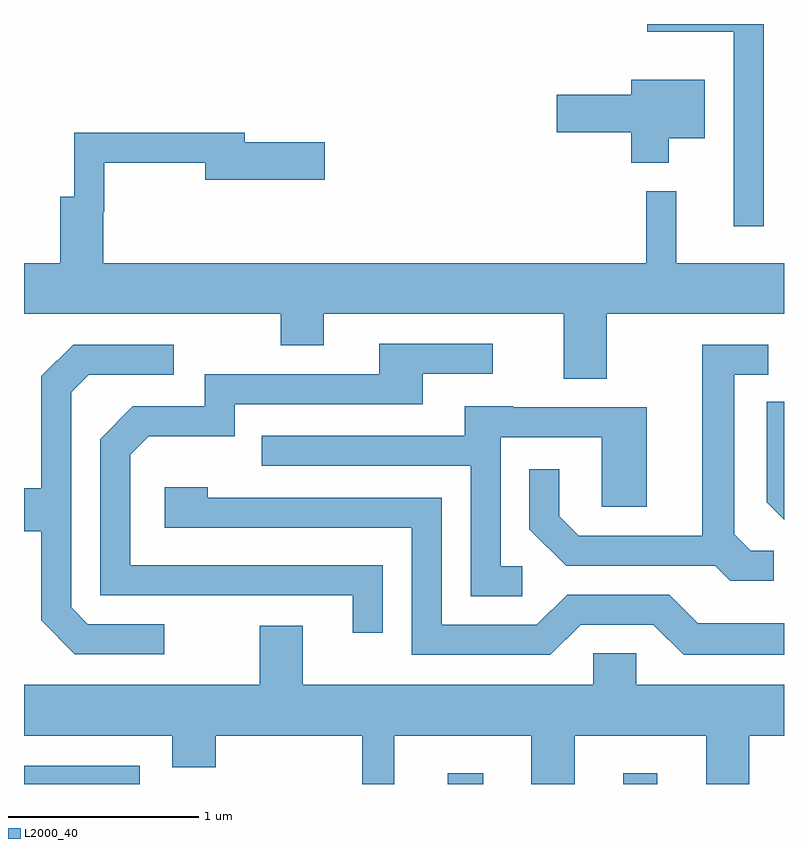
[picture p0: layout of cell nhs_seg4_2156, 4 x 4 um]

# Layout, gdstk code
import gdstk
lib = gdstk.Library(unit=1e-6, precision=1e-09)
def R(c, l, rs):  # rectangles x0, y0, x1, y1
    for r in rs: c.add(gdstk.rectangle(r[:2], r[2:], *l))
def P(c, l, *ps):  # polygons
    for p in ps: c.add(gdstk.Polygon(p, *l))
L2000_40 = (2000, 40)

nhs_seg4_2156 = lib.new_cell('nhs_seg4_2156')
R(nhs_seg4_2156, L2000_40, [(247.611,1349.982,248.219,1350.079), (249.841,1349.982,250.029,1350.039), (250.766,1349.982,250.944,1350.039)])
P(nhs_seg4_2156, L2000_40, [(251.504,1353.982),(250.891,1353.982),(250.891,1353.941),(251.346,1353.941),(251.346,1352.918),(251.504,1352.918)],
  [(251.004,1353.381),(251.194,1353.381),(251.194,1353.689),(250.806,1353.689),(250.806,1353.609),(250.416,1353.609),(250.416,1353.411),(250.806,1353.411),(250.806,1353.251),(251.004,1353.251)],
  [(248.961,1352.291),(249.189,1352.291),(249.189,1352.456),(250.451,1352.456),(250.451,1352.116),(250.679,1352.116),(250.679,1352.456),(251.611,1352.456),(251.611,1352.724),(251.044,1352.724),(251.044,1353.103),(250.886,1353.103),(250.886,1352.724),(248.029,1352.724),(248.029,1352.995),(248.034,1352.995),(248.034,1353.251),(248.566,1353.251),(248.566,1353.161),(249.194,1353.161),(249.194,1353.359),(248.774,1353.359),(248.774,1353.409),(247.876,1353.409),(247.876,1353.074),(247.801,1353.074),(247.801,1352.724),(247.611,1352.724),(247.611,1352.456),(248.961,1352.456)],
  [(249.499,1351.134),(248.169,1351.134),(248.169,1351.714),(248.267,1351.811),(248.719,1351.811),(248.719,1351.981),(249.709,1351.981),(249.709,1352.141),(250.078,1352.141),(250.078,1352.299),(249.481,1352.299),(249.481,1352.139),(248.561,1352.139),(248.561,1351.969),(248.184,1351.969),(248.011,1351.797),(248.011,1350.976),(249.341,1350.976),(249.341,1350.778),(249.499,1350.778)],
  [(251.558,1351.209),(251.437,1351.209),(251.349,1351.297),(251.349,1352.136),(251.528,1352.136),(251.528,1352.294),(251.181,1352.294),(251.181,1351.289),(250.532,1351.289),(250.429,1351.392),(250.429,1351.638),(250.271,1351.638),(250.271,1351.324),(250.464,1351.131),(251.249,1351.131),(251.329,1351.051),(251.558,1351.051)],
  [(248.348,1350.824),(247.947,1350.824),(247.859,1350.912),(247.859,1352.044),(247.952,1352.136),(248.398,1352.136),(248.398,1352.294),(247.869,1352.294),(247.701,1352.127),(247.701,1351.539),(247.611,1351.539),(247.611,1351.311),(247.701,1351.311),(247.701,1350.844),(247.879,1350.666),(248.348,1350.666)],
  [(251.611,1351.993),(251.521,1351.993),(251.521,1351.464),(251.611,1351.374)],
  [(250.233,1351.129),(250.119,1351.129),(250.119,1351.806),(250.651,1351.806),(250.651,1351.441),(250.889,1351.441),(250.889,1351.964),(250.185,1351.964),(250.185,1351.969),(249.931,1351.969),(249.931,1351.814),(248.863,1351.814),(248.863,1351.656),(249.961,1351.656),(249.961,1350.971),(250.233,1350.971)],
  [(250.542,1350.821),(250.924,1350.821),(251.084,1350.661),(251.611,1350.661),(251.611,1350.829),(251.157,1350.829),(251.007,1350.979),(250.469,1350.979),(250.309,1350.819),(249.809,1350.819),(249.809,1351.489),(248.579,1351.489),(248.579,1351.544),(248.351,1351.544),(248.351,1351.331),(249.651,1351.331),(249.651,1350.661),(250.382,1350.661)],
  [(249.559,1350.236),(250.281,1350.236),(250.281,1349.982),(250.509,1349.982),(250.509,1350.236),(251.201,1350.236),(251.201,1349.982),(251.429,1349.982),(251.429,1350.236),(251.611,1350.236),(251.611,1350.504),(250.834,1350.504),(250.834,1350.669),(250.606,1350.669),(250.606,1350.504),(249.079,1350.504),(249.079,1350.814),(248.851,1350.814),(248.851,1350.504),(247.611,1350.504),(247.611,1350.236),(248.391,1350.236),(248.391,1350.071),(248.619,1350.071),(248.619,1350.236),(249.391,1350.236),(249.391,1349.982),(249.559,1349.982)])

lib.write_gds('nhs_seg4_2156.gds')
